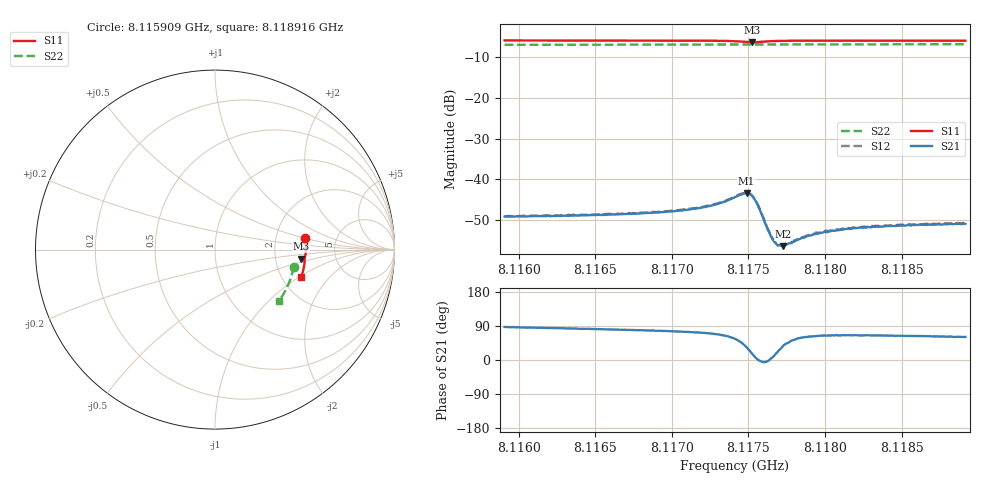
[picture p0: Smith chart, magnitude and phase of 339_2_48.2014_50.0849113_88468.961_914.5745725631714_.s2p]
#  HZ  S  RI  R  50.00
! Rohde & Schwarz Vector Network Analyzer
! Rohde-Schwarz,ZNB20-2Port,1311601062101988,3.16
! Created: UTC 3/20/2024, 11:51:13 AM
! freq[Hz]  re:S11  im:S11  re:S21  im:S21  re:S12  im:S12  re:S22  im:S22
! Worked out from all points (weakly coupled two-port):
!   401 points, 8.115909 GHz to 8.118916 GHz, reference 50 ohm
!   highest |S21| = -43.42 dB at 8.117488 GHz (marker M1); lowest = -56.4 dB at 8.117728 GHz (marker M2)
!   lowest |S11| = -6.3 dB at 8.117525 GHz (marker M3), VSWR 2.86, Z = 140 - j18.4 ohm
!   |S11| at or under -10 dB: nowhere
!   |S22| runs from -7.0 to -6.8 dB; largest |S21 - S12| = 0.00018
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8.1159086e9  0.5032 0.065  0.000171 0.00349  0.000239 0.00351  0.4381 -0.095
8.1164124e9  0.5061 0.027  0.000475 0.00358  0.000516 0.00365  0.4307 -0.1293
8.1169161e9  0.5057 -0.0115  0.000876 0.00382  0.000927 0.0039  0.4207 -0.1627
8.1172018e9  0.5031 -0.0351  0.00143 0.00429  0.00149 0.00435  0.4137 -0.1815
8.1173296e9  0.4997 -0.047  0.00215 0.00473  0.00225 0.00481  0.4102 -0.1898
8.1174123e9  0.4938 -0.0551  0.0034 0.00497  0.00351 0.00503  0.4079 -0.1951
8.1174499e9  0.4886 -0.0575  0.00441 0.00475  0.00455 0.00479  0.4064 -0.1975
8.1174875e9  0.4824 -0.0566  0.0056 0.00375  0.00574 0.00374  0.4052 -0.1996
8.1175025e9  0.4803 -0.0545  0.00593 0.00301  0.00606 0.00301  0.4047 -0.2004
8.1175251e9  0.4791 -0.0503  0.00594 0.0017  0.00606 0.0017  0.4041 -0.2015
8.1175477e9  0.4809 -0.0462  0.00536 0.00055  0.00545 0.000514  0.4036 -0.2027
8.1175627e9  0.4833 -0.0446  0.00474 4.4e-05  0.00485 3.08e-05  0.4033 -0.2037
8.1176304e9  0.4937 -0.0473  0.00232 -7.8e-05  0.00238 -0.000134  0.4018 -0.208
8.1176604e9  0.4962 -0.0506  0.00178 0.000247  0.00182 0.000261  0.401 -0.2101
8.1176905e9  0.4975 -0.0541  0.00143 0.000559  0.00148 0.000591  0.4002 -0.212
8.1177131e9  0.4983 -0.0566  0.00132 0.000794  0.00132 0.000821  0.3994 -0.2135
8.1177281e9  0.4986 -0.0582  0.00119 0.000934  0.00126 0.000934  0.399 -0.2144
8.1179161e9  0.4986 -0.076  0.000967 0.00183  0.00103 0.00189  0.3932 -0.2264
8.1179988e9  0.4977 -0.0829  0.000981 0.00206  0.001 0.00207  0.3905 -0.2315
8.1181416e9  0.496 -0.0942  0.00102 0.00222  0.00107 0.00226  0.3857 -0.2403
8.1184198e9  0.4914 -0.1152  0.00117 0.00238  0.0012 0.00244  0.3755 -0.2571
8.118916e9  0.4813 -0.1511  0.00138 0.00248  0.0014 0.00252  0.3559 -0.2859
